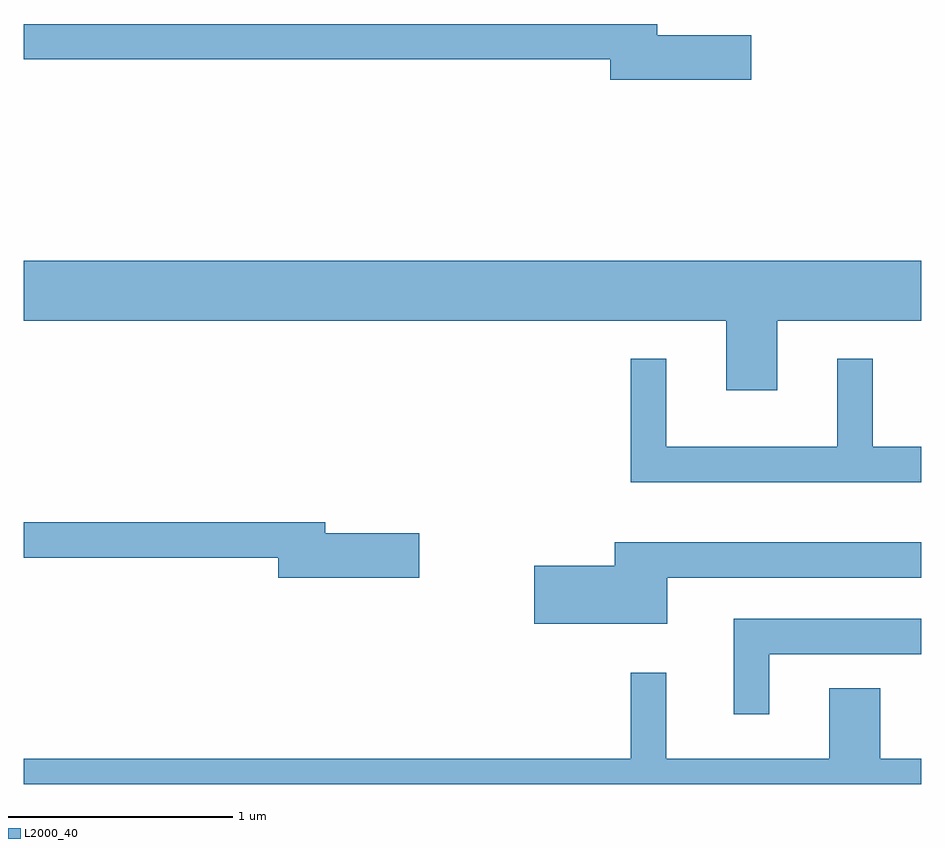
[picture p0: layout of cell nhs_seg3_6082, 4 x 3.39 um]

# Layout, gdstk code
import gdstk
lib = gdstk.Library(unit=1e-6, precision=1e-09)
def P(c, l, *ps):  # polygons
    for p in ps: c.add(gdstk.Polygon(p, *l))
L2000_40 = (2000, 40)

nhs_seg3_6082 = lib.new_cell('nhs_seg3_6082')
P(nhs_seg3_6082, L2000_40, [(366.854,1187.229),(366.434,1187.229),(366.434,1187.279),(363.611,1187.279),(363.611,1187.121),(366.226,1187.121),(366.226,1187.031),(366.854,1187.031)],
  [(366.969,1185.956),(367.611,1185.956),(367.611,1186.224),(363.611,1186.224),(363.611,1185.956),(366.741,1185.956),(366.741,1185.646),(366.969,1185.646)],
  [(367.611,1185.394),(367.394,1185.394),(367.394,1185.788),(367.236,1185.788),(367.236,1185.394),(366.474,1185.394),(366.474,1185.788),(366.316,1185.788),(366.316,1185.236),(367.611,1185.236)],
  [(365.374,1185.009),(364.954,1185.009),(364.954,1185.059),(363.611,1185.059),(363.611,1184.901),(364.746,1184.901),(364.746,1184.811),(365.374,1184.811)],
  [(366.479,1184.811),(367.611,1184.811),(367.611,1184.969),(366.246,1184.969),(366.246,1184.864),(365.886,1184.864),(365.886,1184.606),(366.479,1184.606)],
  [(366.934,1184.471),(367.611,1184.471),(367.611,1184.629),(366.776,1184.629),(366.776,1184.203),(366.934,1184.203)],
  [(367.611,1184.004),(367.429,1184.004),(367.429,1184.319),(367.201,1184.319),(367.201,1184.004),(366.474,1184.004),(366.474,1184.388),(366.316,1184.388),(366.316,1184.004),(363.611,1184.004),(363.611,1183.892),(367.611,1183.892)])

lib.write_gds('nhs_seg3_6082.gds')
